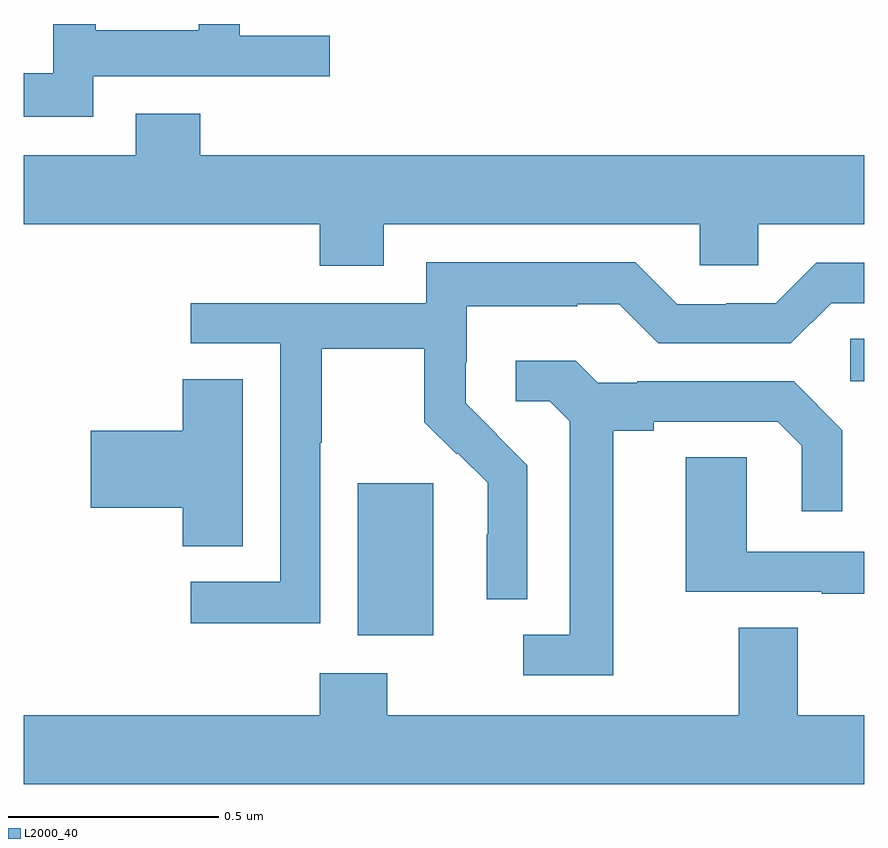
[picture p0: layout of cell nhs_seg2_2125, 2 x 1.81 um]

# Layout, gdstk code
import gdstk
lib = gdstk.Library(unit=1e-6, precision=1e-09)
def R(c, l, rs):  # rectangles x0, y0, x1, y1
    for r in rs: c.add(gdstk.rectangle(r[:2], r[2:], *l))
def P(c, l, *ps):  # polygons
    for p in ps: c.add(gdstk.Polygon(p, *l))
L2000_40 = (2000, 40)

nhs_seg2_2125 = lib.new_cell('nhs_seg2_2125')
R(nhs_seg2_2125, L2000_40, [(137.795,625.346,137.974,625.707), (138.966,625.95,139,626.051)])
P(nhs_seg2_2125, L2000_40, [(137.166,626.676),(137.728,626.676),(137.728,626.772),(137.514,626.772),(137.514,626.8),(137.416,626.8),(137.416,626.785),(137.171,626.785),(137.171,626.8),(137.07,626.8),(137.07,626.683),(137,626.683),(137,626.579),(137.166,626.579)],
  [(137.857,626.324),(138.609,626.324),(138.609,626.226),(138.747,626.226),(138.747,626.324),(139,626.324),(139,626.488),(137.42,626.488),(137.42,626.587),(137.267,626.587),(137.267,626.488),(137,626.488),(137,626.324),(137.705,626.324),(137.705,626.225),(137.857,626.225)],
  [(137.706,625.804),(137.709,625.804),(137.709,626.028),(137.953,626.028),(137.953,625.853),(138.03,625.776),(138.033,625.779),(138.104,625.709),(138.104,625.586),(138.102,625.586),(138.102,625.432),(138.198,625.432),(138.198,625.75),(138.125,625.823),(138.126,625.824),(138.052,625.898),(138.052,625.995),(138.054,625.995),(138.054,626.129),(138.317,626.129),(138.317,626.133),(138.417,626.133),(138.51,626.04),(138.825,626.04),(138.921,626.136),(139,626.136),(139,626.232),(138.885,626.232),(138.789,626.136),(138.671,626.136),(138.671,626.133),(138.555,626.133),(138.455,626.233),(137.958,626.233),(137.958,626.136),(137.397,626.136),(137.397,626.04),(137.61,626.04),(137.61,625.473),(137.397,625.473),(137.397,625.375),(137.706,625.375)],
  [(138.403,625.832),(138.499,625.832),(138.499,625.854),(138.794,625.854),(138.851,625.797),(138.851,625.641),(138.948,625.641),(138.948,625.834),(138.832,625.95),(138.46,625.95),(138.46,625.947),(138.366,625.947),(138.314,625.999),(138.171,625.999),(138.171,625.902),(138.252,625.902),(138.299,625.855),(138.299,625.347),(138.189,625.347),(138.189,625.251),(138.403,625.251)],
  [(137.521,625.955),(137.378,625.955),(137.378,625.832),(137.16,625.832),(137.16,625.649),(137.378,625.649),(137.378,625.558),(137.521,625.558)],
  [(139,625.545),(138.72,625.545),(138.72,625.769),(138.575,625.769),(138.575,625.449),(138.899,625.449),(138.899,625.445),(139,625.445)],
  [(139,625.156),(138.841,625.156),(138.841,625.364),(138.701,625.364),(138.701,625.156),(137.865,625.156),(137.865,625.255),(137.705,625.255),(137.705,625.156),(137,625.156),(137,624.992),(139,624.992)])

lib.write_gds('nhs_seg2_2125.gds')
